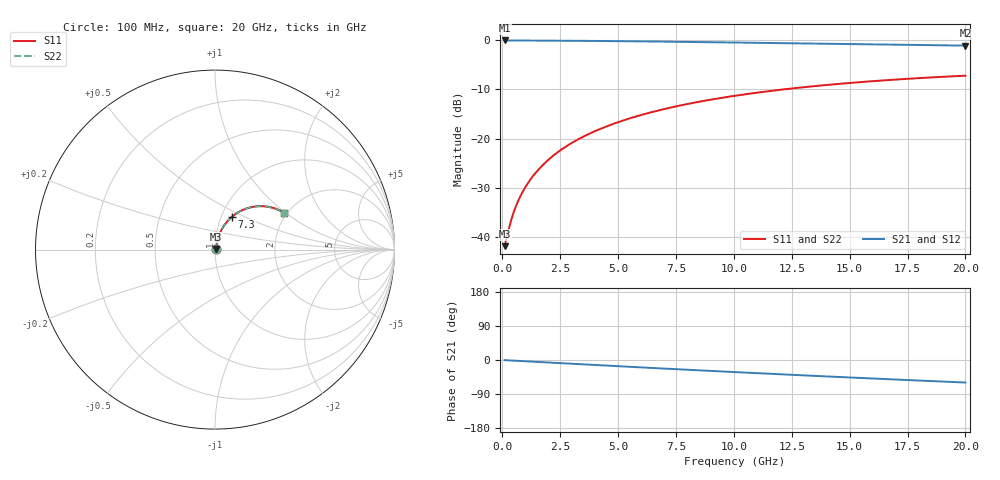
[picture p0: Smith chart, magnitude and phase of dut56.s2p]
! Touchstone file exported from HFSS 2026.1.0
!  File:  C:/ffzhzh/LocalFiles/Ansys_Project_Files/temp_train_BSMRDL_56_1782882609_8056.aedt
!  Generated:  01:11:32 PM Jul  1, 2026
!  Design:  BSMRDL
!  Project:  temp_train_BSMRDL_56_1782882609_8056
! Variables:
!  h_bsmrdl = 3.22um
!  h_ox = 20um
!  h_rdl = 5um
!  h_sub = 80um
!  h_tmrdl = 5um
!  h_tsv = 80um
!  h_via = 3um
!  l_bsmrdl = 981.12um
!  l_sub = 1381.12um
!  l_tmrdl = 200um
!  m_sub = 200um
!  pitch = 30.17um
!  r_tsv = 6um
!  s_tmrdl = 10um
!  w_bsmrdl = 14.71um
!  w_sub = 500um
!  w_tmrdl = 12um
!  x_tsv_center1 = 206um
!  x_tsv_center2 = 1201.83um
!  x_tsv_center3 = 1413.83um
!  x_tsv_center4 = 2409.66um
!  x_tsv_center5 = 2621.66um
!  x_tsv_center6 = 3617.49um
# GHz S MA R 50.000000
! Terminal data exported
! Port[1] = BSM_RDL1_1_T1
! Port[2] = BSM_RDL1_1_T2
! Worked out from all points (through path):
!   200 points, 100 MHz to 20 GHz, reference 50 ohm
!   highest |S21| = -0.06 dB at 100 MHz (marker M1); lowest = -1.1 dB at 20 GHz (marker M2)
!   group delay of S21, straight-line fit = 8.25 ps
!   lowest |S11| = -41.8 dB at 100 MHz (marker M3), VSWR 1.02, Z = 50.7 + j0.34 ohm
!   |S11| at or under -10 dB: start of sweep to 12.15 GHz
!   |S22| runs from -41.8 to -7.2 dB; largest |S21 - S12| = 2.6e-15
!   S11 on the Smith chart (normalised r, x): 100 MHz: 1.01, +0.01; 7.3 GHz: 1.12, +0.43; 20 GHz: 1.93, +0.97
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0.1  0.008104 24.5  0.9926 -0.4  0.9926 -0.4  0.008104 24.5
! Gamma 0 0 0 0
! Port Impedance 50 0 50 0
0.3  0.01264 50.9  0.9922 -1.0  0.9922 -1.0  0.01264 50.9
0.4  0.01536 57.0  0.9919 -1.4  0.9919 -1.4  0.01536 57.0
0.6  0.02095 64.1  0.9913 -2.0  0.9913 -2.0  0.02095 64.1
0.7  0.02377 66.3  0.9911 -2.4  0.9911 -2.4  0.02377 66.3
0.9  0.02945 69.3  0.9907 -3.0  0.9907 -3.0  0.02945 69.4
1.2  0.03807 72.0  0.9901 -4.0  0.9901 -4.0  0.03806 72.0
1.4  0.04386 73.0  0.9898 -4.7  0.9898 -4.7  0.04386 73.0
1.7  0.05259 73.9  0.9891 -5.7  0.9891 -5.7  0.05259 73.9
2.2  0.06719 74.3  0.988 -7.3  0.988 -7.3  0.06719 74.3
2.8  0.08466 73.8  0.9862 -9.3  0.9862 -9.3  0.08466 73.8
3.5  0.1048 72.6  0.9838 -11.6  0.9838 -11.6  0.1048 72.6
4.2  0.1247 71.0  0.981 -13.8  0.981 -13.8  0.1247 71.0
5  0.147 68.9  0.9772 -16.4  0.9772 -16.4  0.147 69.0
5.9  0.1713 66.5  0.9725 -19.2  0.9725 -19.2  0.1713 66.5
6.8  0.1948 63.9  0.9672 -22.1  0.9672 -22.1  0.1948 63.9
7.3  0.2075 62.5  0.9642 -23.6  0.9642 -23.6  0.2076 62.5
8.6  0.2393 58.7  0.9557 -27.6  0.9557 -27.6  0.2393 58.8
10.1  0.2736 54.4  0.9454 -32.1  0.9454 -32.1  0.2736 54.5
13.4  0.3399 45.3  0.9221 -41.7  0.9221 -41.7  0.3399 45.3
16.7  0.3938 36.5  0.8996 -50.8  0.8996 -50.8  0.3938 36.6
20  0.4358 28.1  0.8799 -59.5  0.8799 -59.5  0.4359 28.2
